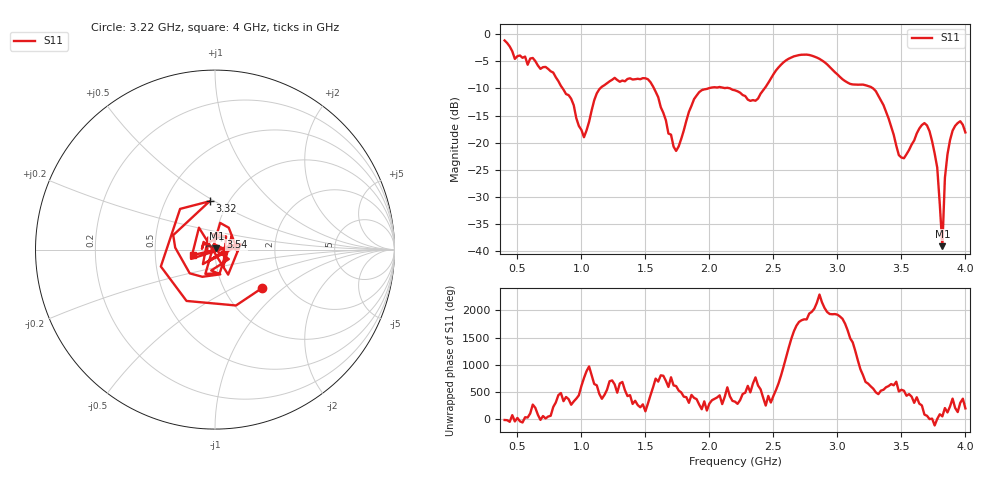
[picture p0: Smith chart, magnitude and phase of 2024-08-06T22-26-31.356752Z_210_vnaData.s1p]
!Created with skrf (http://scikit-rf.org).
# Hz S RI R 50.0
!freq ReS11 ImS11
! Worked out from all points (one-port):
!   181 points, 400 MHz to 4 GHz, reference 50 ohm
!   lowest |S11| = -39.1 dB at 3.82 GHz (marker M1), VSWR 1.02, Z = 50.8 + j0.822 ohm
!   |S11| at or under -10 dB: 853.9 MHz to 1.146 GHz (292.1 MHz wide, 29.2 % of centre); 1.567 GHz to 1.99 GHz (422.9 MHz wide, 23.8 % of centre); 3.28 GHz to end of sweep (the widest 3 of 4)
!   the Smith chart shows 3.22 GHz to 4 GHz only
!   S11 on the Smith chart (normalised r, x): 3.22 GHz: 1.50, -0.73; 3.32 GHz: 0.82, +0.48; 3.54 GHz: 1.05, +0.15; 4 GHz: 0.78, -0.05
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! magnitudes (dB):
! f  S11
! 400 MHz  -1.1
! 480 MHz  -4.5
! 860 MHz  -10.2
! 1.02 GHz  -19.0
! 1.14 GHz  -10.1
! 1.3 GHz  -8.8
! 1.52 GHz  -8.3
! 1.72 GHz  -20.7
! 1.76 GHz  -20.7
! 1.92 GHz  -10.7
! 2.2 GHz  -10.3
! 2.36 GHz  -12.3
! 2.66 GHz  -4.1
! 2.86 GHz  -4.5
! 3.1 GHz  -9.2
! 3.22 GHz  -9.4
! 3.32 GHz  -11.3
! 3.48 GHz  -22.3
! 3.54 GHz  -22.2
! 3.56 GHz  -21.4
! 3.66 GHz  -16.8
! 3.72 GHz  -17.9
! 3.78 GHz  -24.6
! 3.82 GHz  -39.1
! 3.84 GHz  -26.5
! 3.88 GHz  -19.5
! 3.96 GHz  -16.1
! 4 GHz  -18.1
